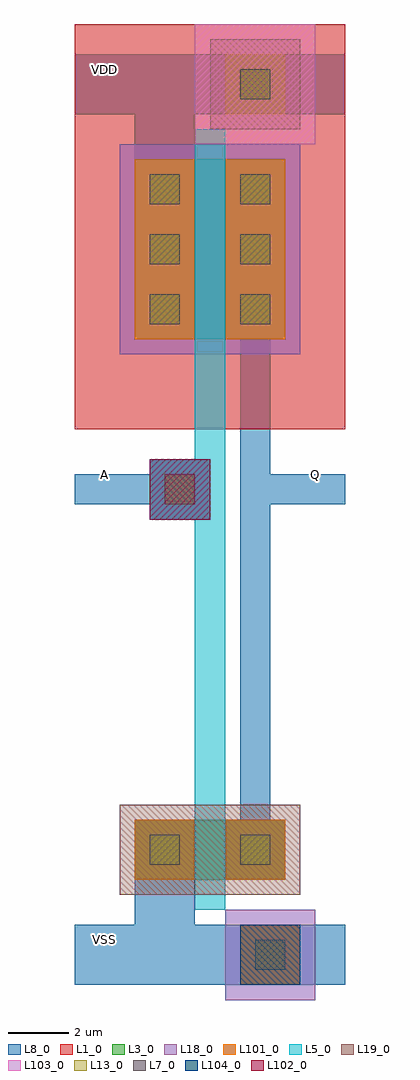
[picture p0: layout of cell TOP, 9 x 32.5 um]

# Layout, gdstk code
import gdstk
lib = gdstk.Library(unit=1e-6, precision=1e-07)
def R(c, l, rs):  # rectangles x0, y0, x1, y1
    for r in rs: c.add(gdstk.rectangle(r[:2], r[2:], *l))
L1_0 = (1, 0)
L3_0 = (3, 0)
L5_0 = (5, 0)
L7_0 = (7, 0)
L8_0 = (8, 0)
L13_0 = (13, 0)
L18_0 = (18, 0)
L19_0 = (19, 0)
L101_0 = (101, 0)
L102_0 = (102, 0)
L103_0 = (103, 0)
L104_0 = (104, 0)

dcont = lib.new_cell('dcont')
R(dcont, L3_0, [(-1,-1,1,1)])
R(dcont, L7_0, [(-0.5,-0.5,0.5,0.5)])
R(dcont, L8_0, [(-1,-1,1,1)])
R(dcont, L13_0, [(-0.5,-0.5,0.5,0.5)])
R(dcont, L101_0, [(-1,-1,1,1)])

dcont1 = lib.new_cell('dcont1')
R(dcont1, L3_0, [(-1,-1,1,1)])
R(dcont1, L7_0, [(-0.5,-0.5,0.5,0.5)])
R(dcont1, L8_0, [(-1,-1,1,1)])
R(dcont1, L13_0, [(-0.5,-0.5,0.5,0.5)])
R(dcont1, L101_0, [(-1,-1,1,1)])

psubcont = lib.new_cell('psubcont')
R(psubcont, L18_0, [(-1.5,-1.5,1.5,1.5)])
R(psubcont, L104_0, [(-1,-1,1,1)])
psubcont.add(gdstk.Reference(dcont1, (0,0)))

nch_1 = lib.new_cell('Nch$1')
R(nch_1, L3_0, [(0,3,5,5)])
R(nch_1, L19_0, [(-0.5,2.5,5.5,5.5)])
nch_1.add(gdstk.FlexPath([(1,3),(1,5)], 2, ends="flush", simple_path=True, layer=8, datatype=0))  # L8_0
nch_1.add(gdstk.FlexPath([(4,3),(4,5)], 2, ends="flush", simple_path=True, layer=8, datatype=0))  # L8_0
nch_1.add(gdstk.FlexPath([(2.5,3),(2.5,5)], 1, ends=(1, 1), simple_path=True, layer=5, datatype=0))  # L5_0
nch_1.add(gdstk.Reference(dcont, (1,4)))
nch_1.add(gdstk.Reference(dcont, (4,4)))
nch_1.add(gdstk.Reference(psubcont, (4.5,0.5)))

nsubcont = lib.new_cell('nsubcont')
R(nsubcont, L1_0, [(-2,-2,2,2)])
R(nsubcont, L19_0, [(-1.5,-1.5,1.5,1.5)])
R(nsubcont, L103_0, [(-2,-2,2,2)])
nsubcont.add(gdstk.Reference(dcont1, (0,0)))

pch_1 = lib.new_cell('Pch$1')
R(pch_1, L1_0, [(-2,0,7,13.5)])
R(pch_1, L3_0, [(0,3,5,9)])
R(pch_1, L18_0, [(-0.5,2.5,5.5,9.5)])
pch_1.add(gdstk.FlexPath([(1,3),(1,9)], 2, ends="flush", simple_path=True, layer=8, datatype=0))  # L8_0
pch_1.add(gdstk.FlexPath([(4,3),(4,9)], 2, ends="flush", simple_path=True, layer=8, datatype=0))  # L8_0
pch_1.add(gdstk.FlexPath([(2.5,3),(2.5,9)], 1, ends=(1, 1), simple_path=True, layer=5, datatype=0))  # L5_0
pch_1.add(gdstk.Reference(dcont, (1,4)))
pch_1.add(gdstk.Reference(dcont, (1,6)))
pch_1.add(gdstk.Reference(dcont, (1,8)))
pch_1.add(gdstk.Reference(dcont, (4,4)))
pch_1.add(gdstk.Reference(dcont, (4,6)))
pch_1.add(gdstk.Reference(dcont, (4,8)))
pch_1.add(gdstk.Reference(nsubcont, (4,11.5)))

pcont = lib.new_cell('pcont')
R(pcont, L5_0, [(-1,-1,1,1)])
R(pcont, L7_0, [(-0.5,-0.5,0.5,0.5)])
R(pcont, L8_0, [(-1,-1,1,1)])
R(pcont, L13_0, [(-0.5,-0.5,0.5,0.5)])
R(pcont, L102_0, [(-1,-1,1,1)])

top = lib.new_cell('TOP')
top.add(gdstk.FlexPath([(-7,29.5),(-7,39)], 2, ends="flush", simple_path=True, layer=8, datatype=0))  # L8_0
top.add(gdstk.FlexPath([(-7,13.5),(-7,8)], 2, ends="flush", simple_path=True, layer=8, datatype=0))  # L8_0
top.add(gdstk.FlexPath([(-10,38),(-1,38)], 2, ends="flush", simple_path=True, layer=8, datatype=0))  # L8_0
top.add(gdstk.FlexPath([(-1,9),(-10,9)], 2, ends="flush", simple_path=True, layer=8, datatype=0))  # L8_0
top.add(gdstk.FlexPath([(-4,35),(-4,12)], 1, ends="flush", simple_path=True, layer=8, datatype=0))  # L8_0
top.add(gdstk.FlexPath([(-6,24.5),(-10,24.5)], 1, ends="flush", simple_path=True, layer=8, datatype=0))  # L8_0
top.add(gdstk.FlexPath([(-4.5,24.5),(-1,24.5)], 1, ends="flush", simple_path=True, layer=8, datatype=0))  # L8_0
top.add(gdstk.FlexPath([(-5.5,29.5),(-5.5,13.5)], 1, ends="flush", simple_path=True, layer=5, datatype=0))  # L5_0
top.add(gdstk.Reference(nch_1, (-8,8.5)))
top.add(gdstk.Reference(pch_1, (-8,26.5)))
top.add(gdstk.Reference(pcont, (-6.5,24.5)))
top.add(gdstk.Label('A', (-9,25), layer=8, texttype=0))
top.add(gdstk.Label('Q', (-2,25), layer=8, texttype=0))
top.add(gdstk.Label('VDD', (-9,38.5), layer=8, texttype=0))
top.add(gdstk.Label('VSS', (-9,9.5), layer=8, texttype=0))

lib.write_gds('TOP.gds')
